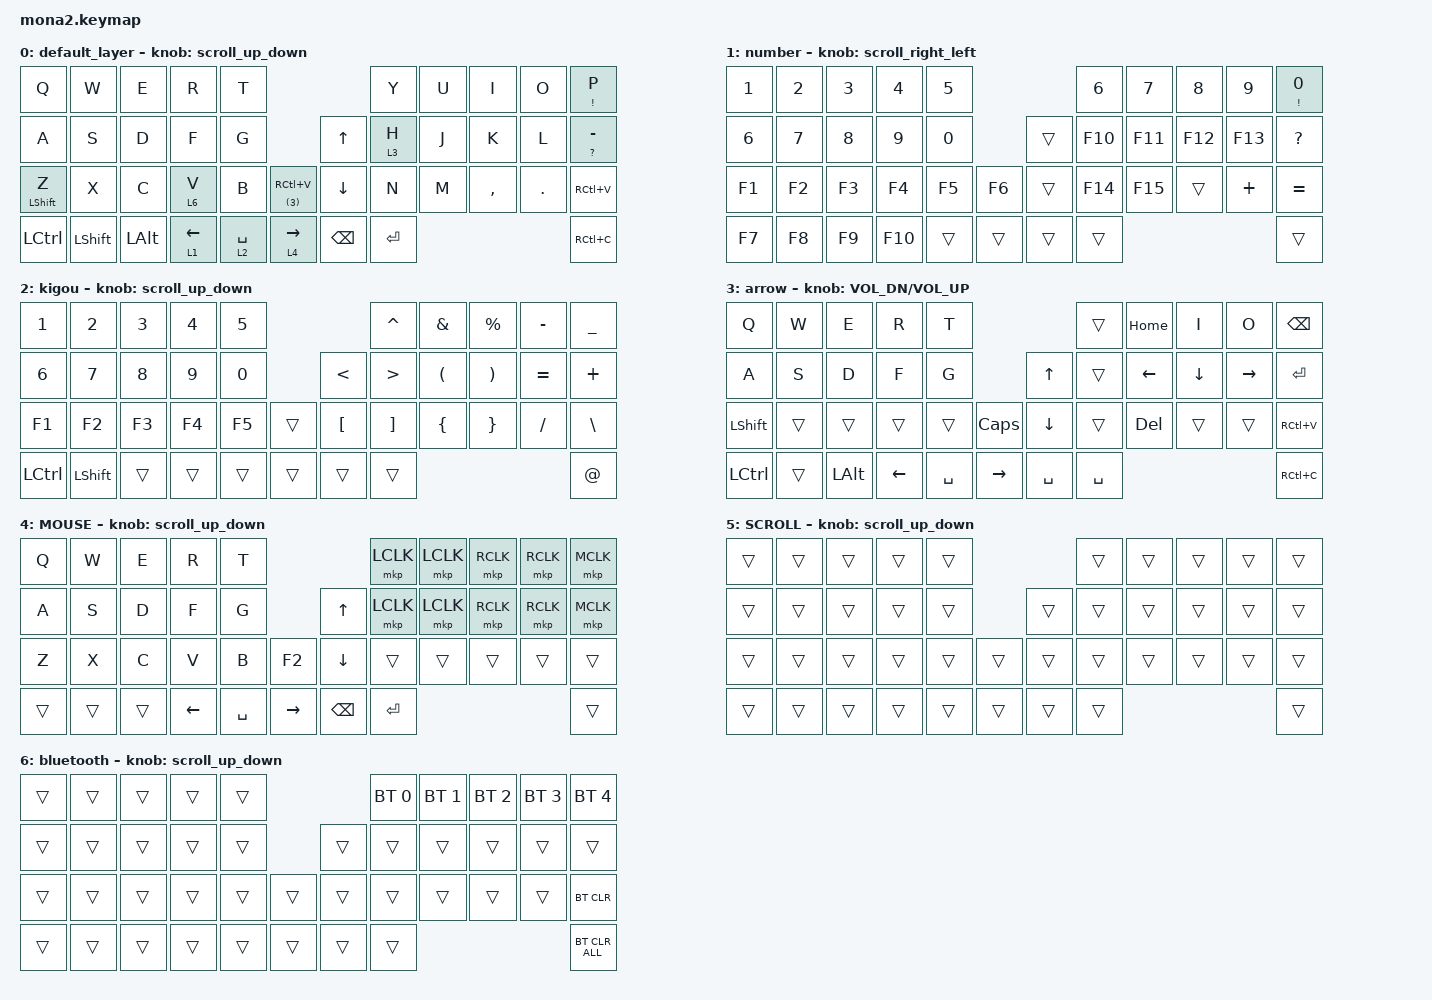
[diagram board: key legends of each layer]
#include <input/processors.dtsi>
#include <dt-bindings/zmk/input_transform.h>
#include <zephyr/dt-bindings/input/input-event-codes.h>
#include <behaviors.dtsi>
#include <dt-bindings/zmk/bt.h>
#include <dt-bindings/zmk/keys.h>
#include <dt-bindings/zmk/pointing.h>

#define ZMK_POINTING_DEFAULT_SCRL_VAL 100
#define MOUSE 5
#define SCROLL 6

&mt {
    flavor = "balanced";
    quick-tap-ms = <0>;
};

&lt {
    quick-tap-ms = <300>;
    flavor = "balanced";
};

/ {
    combos {
        compatible = "zmk,combos";

        leftclick {
            bindings = <&mkp LCLK>;
            key-positions = <17 18>;
        };

        caplock {
            bindings = <&kp CAPSLOCK>;
            key-positions = <13 12>;
        };

        escape {
            bindings = <&kp ESCAPE>;
            key-positions = <0 9>;
        };
    };

    macros {
        to_layer_0: to_layer_0 {
            compatible = "zmk,behavior-macro-one-param";
            #binding-cells = <1>;
            bindings = <&to 0 &macro_param_1to1 &kp MACRO_PLACEHOLDER>;
            label = "TO_LAYER_0";
        };
    };

    behaviors {
        lt_to_layer_0: lt_to_layer_0 {
            compatible = "zmk,behavior-hold-tap";
            label = "LAYER_TAP_TO_0";
            bindings = <&mo>, <&to_layer_0>;

            #binding-cells = <2>;
            tapping-term-ms = <200>;
        };

        scroll_up_down: mouse_wheel_up_down {
            compatible = "zmk,behavior-sensor-rotate";
            #sensor-binding-cells = <0>;
            bindings = <&msc SCRL_DOWN>, <&msc SCRL_UP>;

            tap-ms = <20>;
        };

        scroll_right_left: mouse_wheel_right_left {
            compatible = "zmk,behavior-sensor-rotate";
            #sensor-binding-cells = <0>;
            bindings = <&msc SCRL_LEFT>, <&msc SCRL_RIGHT>;

            tap-ms = <20>;
        };
    };

    keymap {
        compatible = "zmk,keymap";

        default_layer {
            bindings = <
&kp Q             &kp W           &kp E         &kp R             &kp T                                             &kp Y      &kp U  &kp I      &kp O    &mt EXCL P
&kp A             &kp S           &kp D         &kp F             &kp G                             &kp UP_ARROW    &lt 3 H    &kp J  &kp K      &kp L    &mt QUESTION MINUS
&mt LEFT_SHIFT Z  &kp X           &kp C         &lt 6 V           &kp B        &lt (3) RC(V)        &kp DOWN_ARROW  &kp N      &kp M  &kp COMMA  &kp DOT  &kp RC(V)
&kp LEFT_CONTROL  &kp LEFT_SHIFT  &kp LEFT_ALT  &lt 1 LEFT_ARROW  &lt 2 SPACE  &lt 4 RIGHT_ARROW    &kp BACKSPACE   &kp ENTER                             &kp RC(C)
            >;

            sensor-bindings = <&scroll_up_down>;
        };

        number {
            bindings = <
&kp NUMBER_1  &kp NUMBER_2  &kp NUMBER_3  &kp NUMBER_4  &kp NUMBER_5                    &kp NUMBER_6  &kp NUMBER_7  &kp NUMBER_8  &kp NUMBER_9  &mt EXCLAMATION NUMBER_0
&kp NUMBER_6  &kp NUMBER_7  &kp NUMBER_8  &kp NUMBER_9  &kp NUMBER_0            &trans  &kp F10       &kp F11       &kp F12       &kp F13       &kp QUESTION
&kp F1        &kp F2        &kp F3        &kp F4        &kp F5        &kp F6    &trans  &kp F14       &kp F15       &trans        &kp PLUS      &kp EQUAL
&kp F7        &kp F8        &kp F9        &kp F10       &trans        &trans    &trans  &trans                                                  &trans
            >;

            sensor-bindings = <&scroll_right_left>;
        };

        kigou {
            bindings = <
&kp NUMBER_1      &kp NUMBER_2    &kp NUMBER_3  &kp NUMBER_4  &kp NUMBER_5                              &kp CARET          &kp AMPERSAND         &kp PRCNT              &kp MINUS  &kp UNDERSCORE
&kp NUMBER_6      &kp NUMBER_7    &kp NUMBER_8  &kp NUMBER_9  &kp NUMBER_0            &kp LESS_THAN     &kp GREATER_THAN   &kp LEFT_PARENTHESIS  &kp RIGHT_PARENTHESIS  &kp EQUAL  &kp PLUS
&kp F1            &kp F2          &kp F3        &kp F4        &kp F5        &trans    &kp LEFT_BRACKET  &kp RIGHT_BRACKET  &kp LEFT_BRACE        &kp RIGHT_BRACE        &kp SLASH  &kp BACKSLASH
&kp LEFT_CONTROL  &kp LEFT_SHIFT  &trans        &trans        &trans        &trans    &trans            &trans                                                                     &kp AT
            >;

            sensor-bindings = <&scroll_up_down>;
        };

        arrow {
            bindings = <
&kp Q             &kp W   &kp E         &kp R           &kp T                                         &trans     &kp HOME        &kp I           &kp O            &kp BACKSPACE
&kp A             &kp S   &kp D         &kp F           &kp G                         &kp UP_ARROW    &trans     &kp LEFT_ARROW  &kp DOWN_ARROW  &kp RIGHT_ARROW  &kp ENTER
&kp LEFT_SHIFT    &trans  &trans        &trans          &trans     &kp CAPS           &kp DOWN_ARROW  &trans     &kp DELETE      &trans          &trans           &kp RC(V)
&kp LEFT_CONTROL  &trans  &kp LEFT_ALT  &kp LEFT_ARROW  &kp SPACE  &kp RIGHT_ARROW    &kp SPACE       &kp SPACE                                                   &kp RC(C)
            >;

            sensor-bindings = <&inc_dec_kp C_VOL_DN C_VOL_UP>;
        };

        MOUSE {
            bindings = <
&kp Q   &kp W   &kp E   &kp R           &kp T                                         &mkp LCLK  &mkp LCLK  &mkp RCLK  &mkp RCLK  &mkp MCLK
&kp A   &kp S   &kp D   &kp F           &kp G                         &kp UP_ARROW    &mkp LCLK  &mkp LCLK  &mkp RCLK  &mkp RCLK  &mkp MCLK
&kp Z   &kp X   &kp C   &kp V           &kp B      &kp F2             &kp DOWN_ARROW  &trans     &trans     &trans     &trans     &trans
&trans  &trans  &trans  &kp LEFT_ARROW  &kp SPACE  &kp RIGHT_ARROW    &kp BACKSPACE   &kp ENTER                                   &trans
            >;

            sensor-bindings = <&scroll_up_down>;
        };

        SCROLL {
            bindings = <
&trans  &trans  &trans  &trans  &trans                    &trans  &trans  &trans  &trans  &trans
&trans  &trans  &trans  &trans  &trans            &trans  &trans  &trans  &trans  &trans  &trans
&trans  &trans  &trans  &trans  &trans  &trans    &trans  &trans  &trans  &trans  &trans  &trans
&trans  &trans  &trans  &trans  &trans  &trans    &trans  &trans                          &trans
            >;

            sensor-bindings = <&scroll_up_down>;
        };

        bluetooth {
            bindings = <
&trans  &trans  &trans  &trans  &trans                    &bt BT_SEL 0  &bt BT_SEL 1  &bt BT_SEL 2  &bt BT_SEL 3  &bt BT_SEL 4
&trans  &trans  &trans  &trans  &trans            &trans  &trans        &trans        &trans        &trans        &trans
&trans  &trans  &trans  &trans  &trans  &trans    &trans  &trans        &trans        &trans        &trans        &bt BT_CLR
&trans  &trans  &trans  &trans  &trans  &trans    &trans  &trans                                                  &bt BT_CLR_ALL
            >;

            sensor-bindings = <&scroll_up_down>;
        };
    };
};
